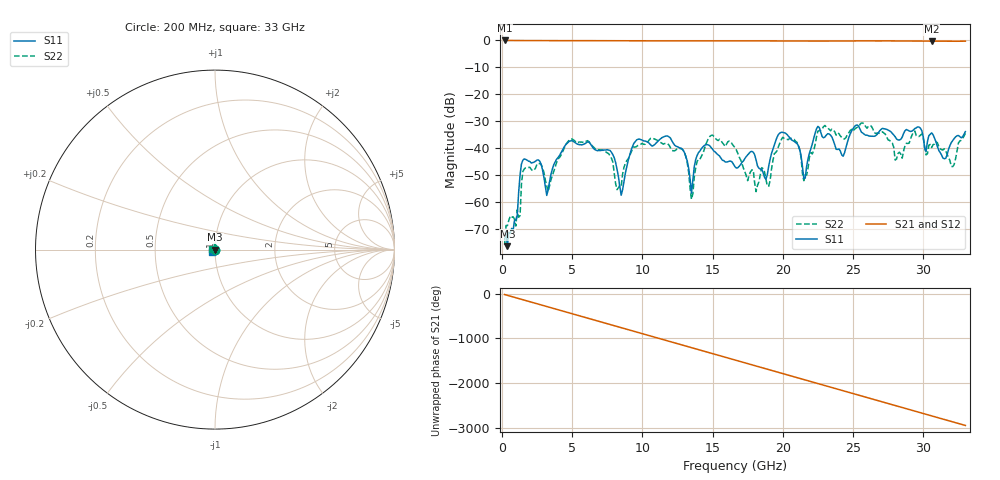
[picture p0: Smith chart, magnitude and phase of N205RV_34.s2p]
# GHZ S RI R 50
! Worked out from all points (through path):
!   329 points, 200 MHz to 33 GHz, reference 50 ohm
!   highest |S21| = -0.02 dB at 200 MHz (marker M1); lowest = -0.3 dB at 30.6 GHz (marker M2)
!   group delay of S21, straight-line fit = 248 ps
!   lowest |S11| = -76.5 dB at 400 MHz (marker M3), VSWR 1.00, Z = 50 - j0.00976 ohm
!   |S11| at or under -10 dB: start of sweep to end of sweep
!   |S22| runs from -75.9 to -30.7 dB; largest |S21 - S12| = 0.0019
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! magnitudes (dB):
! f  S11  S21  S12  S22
! 200 MHz  -73.8  0.0  0.0  -75.9
! 400 MHz  -76.5  0.0  0.0  -68.8
! 1.3 GHz  -50.0  -0.1  -0.1  -65.1
! 1.5 GHz  -44.5  -0.1  -0.1  -48.7
! 3.2 GHz  -57.6  -0.1  -0.1  -53.9
! 5.7 GHz  -38.8  -0.1  -0.1  -37.8
! 7.8 GHz  -41.5  -0.1  -0.1  -43.7
! 8.5 GHz  -57.5  -0.1  -0.1  -54.2
! 9.4 GHz  -38.2  -0.1  -0.1  -39.6
! 11.2 GHz  -37.0  -0.2  -0.2  -37.6
! 13 GHz  -41.6  -0.2  -0.2  -41.5
! 13.5 GHz  -56.8  -0.2  -0.2  -59.0
! 14.8 GHz  -39.1  -0.2  -0.2  -35.7
! 16.6 GHz  -47.0  -0.1  -0.1  -39.8
! 18.1 GHz  -44.4  -0.2  -0.2  -56.2
! 18.8 GHz  -51.6  -0.2  -0.2  -51.5
! 20 GHz  -34.2  -0.2  -0.2  -36.0
! 21.5 GHz  -51.4  -0.2  -0.2  -52.1
! 22.1 GHz  -38.5  -0.3  -0.3  -42.2
! 27.6 GHz  -33.6  -0.2  -0.2  -37.1
! 30.6 GHz  -34.3  -0.3  -0.3  -39.8
! 33 GHz  -33.9  -0.3  -0.3  -34.5
